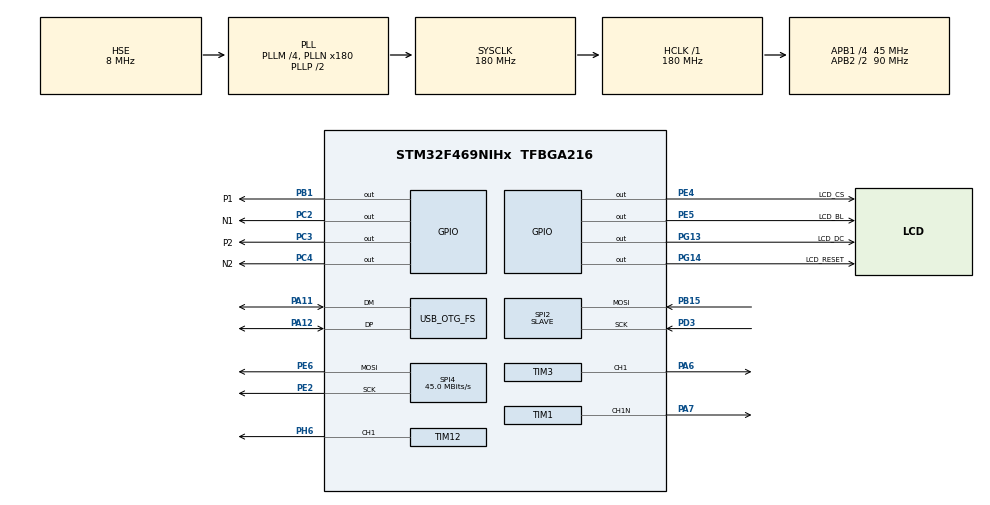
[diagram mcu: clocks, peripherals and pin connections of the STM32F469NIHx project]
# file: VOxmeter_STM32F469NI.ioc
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Dma.Request0=SPI2_RX
Dma.SPI2_RX.0.Direction=DMA_PERIPH_TO_MEMORY
Dma.SPI2_RX.0.FIFOMode=DMA_FIFOMODE_DISABLE
Dma.SPI2_RX.0.Instance=DMA1_Stream3
Dma.SPI2_RX.0.MemDataAlignment=DMA_MDATAALIGN_HALFWORD
Dma.SPI2_RX.0.MemInc=DMA_MINC_ENABLE
Dma.SPI2_RX.0.Mode=DMA_CIRCULAR
Dma.SPI2_RX.0.PeriphDataAlignment=DMA_PDATAALIGN_HALFWORD
Dma.SPI2_RX.0.PeriphInc=DMA_PINC_DISABLE
Dma.SPI2_RX.0.Priority=DMA_PRIORITY_LOW
Mcu.Family=STM32F4
Mcu.Name=STM32F469NIHx
Mcu.Package=TFBGA216
NVIC.DMA1_Stream3_IRQn=true\:0\:0\:false\:false\:true\:false\:true
NVIC.OTG_FS_IRQn=true\:0\:0\:false\:false\:true\:false\:true
NVIC.PriorityGroup=NVIC_PRIORITYGROUP_4
NVIC.TIM6_DAC_IRQn=true\:5\:0\:true\:false\:true\:false\:true
NVIC.TimeBase=TIM6_DAC_IRQn
NVIC.TimeBaseIP=TIM6
PA11.Mode=Device_Only
PA11.Signal=USB_OTG_FS_DM
PA12.Mode=Device_Only
PA12.Signal=USB_OTG_FS_DP
PA13.Mode=Serial_Wire
PA13.Signal=SYS_JTMS-SWDIO
PA14.Mode=Serial_Wire
PA14.Signal=SYS_JTCK-SWCLK
PA6.Signal=S_TIM3_CH1
PA7.Mode=PWM Generation1 CH1N
PA7.Signal=TIM1_CH1N
PB1.GPIO_Label=P1
PB1.PinState=GPIO_PIN_SET
PB1.Signal=GPIO_Output
PB15.Mode=RX_Only_Simplex_Unidirect_Slave
PB15.Signal=SPI2_MOSI
PC2.GPIO_Label=N1
PC2.Signal=GPIO_Output
PC3.GPIO_Label=P2
PC3.PinState=GPIO_PIN_SET
PC3.Signal=GPIO_Output
PC4.GPIO_Label=N2
PC4.Signal=GPIO_Output
PD3.Mode=RX_Only_Simplex_Unidirect_Slave
PD3.Signal=SPI2_SCK
PE2.Mode=TX_Only_Simplex_Unidirect_Master
PE2.Signal=SPI4_SCK
PE4.GPIO_Label=LCD_CS
PE4.Signal=GPIO_Output
PE5.GPIO_Label=LCD_BL
PE5.Signal=GPIO_Output
PE6.Mode=TX_Only_Simplex_Unidirect_Master
PE6.Signal=SPI4_MOSI
PG13.GPIO_Label=LCD_DC
PG13.Signal=GPIO_Output
PG14.GPIO_Label=LCD_RESET
PG14.Signal=GPIO_Output
PH0/OSC_IN.Mode=HSE-External-Oscillator
PH0/OSC_IN.Signal=RCC_OSC_IN
PH1/OSC_OUT.Mode=HSE-External-Oscillator
PH1/OSC_OUT.Signal=RCC_OSC_OUT
PH6.Signal=S_TIM12_CH1
ProjectManager.HeapSize=0x2000
ProjectManager.StackSize=0x4000
ProjectManager.TargetToolchain=MDK-ARM V5.27
RCC.AHBFreq_Value=180000000
RCC.APB1CLKDivider=RCC_HCLK_DIV4
RCC.APB1Freq_Value=45000000
RCC.APB1TimFreq_Value=90000000
RCC.APB2CLKDivider=RCC_HCLK_DIV2
RCC.APB2Freq_Value=90000000
RCC.APB2TimFreq_Value=180000000
RCC.CortexFreq_Value=180000000
RCC.EnbaleCSS=true
RCC.HCLKFreq_Value=180000000
RCC.HSE_VALUE=8000000
RCC.PLLM=4
RCC.PLLN=180
RCC.PLLQ=8
RCC.PLLSAIN=144
RCC.PLLSAIP=RCC_PLLSAIP_DIV6
RCC.PLLSourceVirtual=RCC_PLLSOURCE_HSE
RCC.SYSCLKFreq_VALUE=180000000
RCC.SYSCLKSource=RCC_SYSCLKSOURCE_PLLCLK
RCC.USBCLockSelection=RCC_CLK48CLKSOURCE_PLLSAIP
RCC.USBFreq_Value=48000000
RCC.VCOOutputFreq_Value=360000000
SH.S_TIM12_CH1.0=TIM12_CH1,PWM Generation1 CH1
SH.S_TIM3_CH1.0=TIM3_CH1,PWM Generation1 CH1
SPI2.DataSize=SPI_DATASIZE_16BIT
SPI2.Direction=SPI_DIRECTION_2LINES_RXONLY
SPI2.Mode=SPI_MODE_SLAVE
SPI2.VirtualType=VM_SLAVE
SPI4.BaudRatePrescaler=SPI_BAUDRATEPRESCALER_2
SPI4.CalculateBaudRate=45.0 MBits/s
SPI4.Direction=SPI_DIRECTION_2LINES
SPI4.Mode=SPI_MODE_MASTER
SPI4.VirtualType=VM_MASTER
TIM1.Channel-PWM\ Generation1\ CH1N=TIM_CHANNEL_1
TIM1.OCNPolarity_1=TIM_OCNPOLARITY_HIGH
TIM1.Period=1
TIM1.Prescaler=0
TIM1.Pulse-PWM\ Generation1\ CH1N=1
TIM1.RepetitionCounter=0
TIM1.TIM_MasterOutputTrigger=TIM_TRGO_RESET
TIM12.Channel-PWM\ Generation1\ CH1=TIM_CHANNEL_1
TIM12.OCMode_PWM-PWM\ Generation1\ CH1=TIM_OCMODE_PWM1
TIM12.OCPolarity_1=TIM_OCPOLARITY_LOW
TIM12.Period=67
TIM12.Prescaler=0
TIM12.Pulse-PWM\ Generation1\ CH1=36
TIM3.Channel-PWM\ Generation1\ CH1=TIM_CHANNEL_1
TIM3.OCMode_PWM-PWM\ Generation1\ CH1=TIM_OCMODE_PWM1
TIM3.Period=67
TIM3.Prescaler=0
TIM3.Pulse-PWM\ Generation1\ CH1=36
TIM3.TIM_MasterOutputTrigger=TIM_TRGO_RESET
TIM4.AutoReloadPreload=TIM_AUTORELOAD_PRELOAD_ENABLE
TIM4.Period=1
TIM4.TIM_MasterOutputTrigger=TIM_TRGO_UPDATE
TIM4.TIM_MasterSlaveMode=TIM_MASTERSLAVEMODE_DISABLE
USB_DEVICE.CLASS_NAME_FS=CDC
USB_DEVICE.VirtualMode-CDC_FS=Cdc
USB_DEVICE.VirtualModeFS=Cdc_FS
USB_OTG_FS.VirtualMode=Device_Only
VP_SYS_VS_tim6.Mode=TIM6
VP_TIM12_VS_ClockSourceITR.Mode=TriggerSource_ITR0
VP_TIM12_VS_ControllerModeClock.Mode=Clock Mode
VP_TIM1_VS_ClockSourceITR.Mode=TriggerSource_ITR3
VP_TIM1_VS_ControllerModeClock.Mode=Clock Mode
VP_TIM3_VS_ClockSourceITR.Mode=TriggerSource_ITR3
VP_TIM3_VS_ControllerModeClock.Mode=Clock Mode
VP_TIM4_VS_ClockSourceINT.Mode=Internal
VP_USB_DEVICE_VS_USB_DEVICE_CDC_FS.Mode=CDC_FS
board=custom

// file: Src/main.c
/* USER CODE BEGIN Header */
/**
  ******************************************************************************
  * @file           : main.c
  * @brief          : Main program body
  ******************************************************************************
  * @attention
  *
  * <h2><center>&copy; Copyright (c) 2020 STMicroelectronics.
  * All rights reserved.</center></h2>
  *
  * This software component is licensed by ST under Ultimate Liberty license
  * SLA0044, the "License"; You may not use this file except in compliance with
  * the License. You may obtain a copy of the License at:
  *                             www.st.com/SLA0044
  *
  ******************************************************************************
  */
/* USER CODE END Header */

#include "main.h"
#include "dma.h"
#include "spi.h"
#include "tim.h"
#include "usb_device.h"
#include "gpio.h"

/* USER CODE BEGIN Includes */

#include "stdint.h"
#include "usbd_cdc_if.h"
#include "LCD160.h"
#include "stdlib.h"

/* USER CODE END Includes */

/* USER CODE BEGIN PV */

uint16_t del=150;
uint8_t i=2;
volatile uint8_t dma_cplt=0;
uint16_t tmp[1320];
uint8_t str[1320*7];

// offset using (unit:vref is V, iref is uA, rref is ohm)
double vref=3.2994,iref=20.0,rref=0.0;
uint32_t calibration_R=146420;

// for calculate move average using
float average1=0.0,average2=0.0,resistor=0.0,slope=0.0;
float tmpRes=0.0,tmpSlope=0.0,avgRes=0.0,avgSlope=0.0;
uint16_t start=0,end=1320;

// for average using
uint8_t resetValue=0;
uint16_t maxValue=0,minValue=65535,avgValue=0,countValue=0;

/* USER CODE END PV */

void SystemClock_Config(void);

/* USER CODE BEGIN 0 */

void switchResistor(uint8_t target,uint8_t status){
  if(target==1){  // calibrate resistor
    if(status==0){  // off
      HAL_GPIO_WritePin(P1_GPIO_Port,P1_Pin,GPIO_PIN_SET);
      HAL_GPIO_WritePin(N1_GPIO_Port,N1_Pin,GPIO_PIN_SET);
    }
    else{ // on
      HAL_GPIO_WritePin(N1_GPIO_Port,N1_Pin,GPIO_PIN_RESET);
      HAL_GPIO_WritePin(P1_GPIO_Port,P1_Pin,GPIO_PIN_RESET);
    }
  }
  else if(target==2){  // VOx resistor
    if(status==0){  // off
      HAL_GPIO_WritePin(P2_GPIO_Port,P2_Pin,GPIO_PIN_SET);
      HAL_GPIO_WritePin(N2_GPIO_Port,N2_Pin,GPIO_PIN_SET);
    }
    else{ // on
      HAL_GPIO_WritePin(N2_GPIO_Port,N2_Pin,GPIO_PIN_RESET);
      HAL_GPIO_WritePin(P2_GPIO_Port,P2_Pin,GPIO_PIN_RESET);
    }
  }
  else{ // all discharge and off
    HAL_GPIO_WritePin(P1_GPIO_Port,P1_Pin,GPIO_PIN_SET);
    HAL_GPIO_WritePin(P2_GPIO_Port,P2_Pin,GPIO_PIN_SET);
    HAL_GPIO_WritePin(N1_GPIO_Port,N1_Pin,GPIO_PIN_SET);
    HAL_GPIO_WritePin(N2_GPIO_Port,N2_Pin,GPIO_PIN_SET);
    HAL_GPIO_WritePin(N1_GPIO_Port,N1_Pin,GPIO_PIN_RESET);
    HAL_GPIO_WritePin(N2_GPIO_Port,N2_Pin,GPIO_PIN_RESET);
  }
}

void getADCArray(uint16_t length,uint8_t avg_range){
  uint16_t timeout=64300;
  HAL_SPI_Receive_DMA(&hspi2,(uint8_t*)tmp,length);
  HAL_TIM_Base_Start(&htim4);
  while(dma_cplt==0 && timeout--);
  HAL_TIM_Base_Stop(&htim4);
  switchResistor(0,0);
  dma_cplt=0;

  // calculate average1 from 660 to 710
  average1=tmp[660];
  for(uint8_t k=1;k<avg_range;k++){
    average1=(average1+tmp[660+k]);
  }
  average1/=avg_range;

  // calculate average2 from 1250 to 1300
  average2=tmp[1200];
  for(uint8_t k=1;k<avg_range;k++){
    average2=(average2+tmp[1200+k]);
  }
  average2/=avg_range;
}

void calibration(uint32_t R){
  switchResistor(1,1);
  getADCArray(1320,10);
  // iref=(((double)average1+(double)average2)/2.0)*(vref/65536.0)*1000*1000/(double)R;
  iref=((double)(average1+average2)/2.0)*(vref*15.2587890625)/(double)R;
  // for procedure accelerating
  // vref is fixed to about 3.3v
  // iref is Vadc_read/calibration_R about 20uA
  // rref is vref/iref which is variable
  rref=vref/iref;
}

void systemInitial(){
  // switch off all resistors
  switchResistor(0,0);

  // AD7980 reading sequence generator timers
  // timer 1 pwm for SCK_B high speed
  HAL_TIMEx_PWMN_Start(&htim1,TIM_CHANNEL_1);
  // timer 3 pwm for ADC_CNV pin
  HAL_TIM_PWM_Start(&htim3,TIM_CHANNEL_1);
  // timer 12 pwm with low polarity for SCK_A and gate input
  HAL_TIM_PWM_Start(&htim12,TIM_CHANNEL_1);
  // timer 4 is a master node to trigger timer 1, 3 and 12. (start)
  // HAL_TIM_Base_Start(&htim4);

  // calibrate current source iref
  calibration(calibration_R);

  // ST7735 initialise
  LCD_Initial();    // ST7735_Init();
  All_Color(0,0,0); // ST7735_FillScreen(0x0000);
  LCD_DisplayString_Vertical(120,48,"Ohmmeter");
  for(uint8_t x=16;x<151;x++){
    LCD_DrawPoint(x,118,0xFFFF);
    LCD_DrawPoint(x,18,0xFFFF);
  }
  for(uint8_t y=18;y<119;y++){
    LCD_DrawPoint(151,y,0xFFFF);
    LCD_DrawPoint(16,y,0xFFFF);
  }
  LCD_DisplayString_Vertical(8,0,"  R  =           Ohm");
  LCD_DisplayString_Vertical(0,0,"Slope=          V/mS");
  LCD_DisplayString_Vertical(44,0,"1V");
  LCD_DisplayString_Vertical(74,0,"2V");
  LCD_DisplayString_Vertical(104,0,"3V");
  LCD_DisplayNumber(8,64,0);
  LCD_DisplayFloat(0,48,0.000);
  HAL_GPIO_WritePin(LCD_BL_GPIO_Port,LCD_BL_Pin,GPIO_PIN_SET);
}

void reDraw(uint32_t resistor,float slope){
  uint32_t average=0;
  // redraw curve
  for(uint8_t x=0;x<132;x++){
    for(uint8_t y=1;y<=99;y++){
      if((y%30==0||x==66)&&(x%2==0)&&(y%2==0)){
        LCD_DrawPoint(x+18,y+18,0x4208);
      }
      else
      {
        LCD_DrawPoint(x+18,y+18,0x0000);
      }
    }
    for(uint8_t a=0;a<5;a++){
      average+=tmp[660+x*5+a];
    }
    average=(average*99)/327675;
    if(average>0){
      LCD_DrawPoint(x+18,average+18,0xF800);
    }
  }

  // check overload or short then display value
  if(average1>=65535){
    LCD_DisplayString_Vertical(8,56,"OverLoad");
  }
  else if(resistor<=425){
    LCD_DisplayString_Vertical(8,56,"  <  500 ");
  }
  else{
    LCD_DisplayString_Vertical(8,56,"       ");
    LCD_DisplayNumber(8,64,resistor);
  }
  LCD_DisplayFloat(0,48,slope);
}

void shortToString(void){
  for(uint16_t x=start;x<end;x++){
    str[x*7+0]=((tmp[x]/10000)%10)? ((tmp[x]/10000)%10)+48:48;
    str[x*7+1]=((tmp[x]/1000)%10)? ((tmp[x]/1000)%10)+48:48;
    str[x*7+2]=((tmp[x]/100)%10)? ((tmp[x]/100)%10)+48:48;
    str[x*7+3]=((tmp[x]/10)%10)? ((tmp[x]/10)%10)+48:48;
    str[x*7+4]=(tmp[x]%10)? (tmp[x]%10)+48:48;
    str[x*7+5]='\n';
    str[x*7+6]='\r';
  }
}

/* USER CODE END 0 */

int main(void)
{

  /* MCU Configuration--------------------------------------------------------*/

  /* Reset of all peripherals, Initializes the Flash interface and the Systick. */
  HAL_Init();

  /* Configure the system clock */
  SystemClock_Config();

  /* Initialize all configured peripherals */
  MX_GPIO_Init();
  MX_DMA_Init();
  MX_USB_DEVICE_Init();
  MX_SPI4_Init();
  MX_TIM1_Init();
  MX_TIM3_Init();
  MX_TIM4_Init();
  MX_TIM12_Init();
  MX_SPI2_Init();
  /* USER CODE BEGIN 2 */

  systemInitial();

  /* USER CODE END 2 */

  /* Infinite loop */
  /* USER CODE BEGIN WHILE */
  while (1)
  {
    if(i){ // debug mode
      switchResistor(i,1);
      getADCArray(1320,10);

      if(resetValue==1 || countValue>100){
        avgValue=(maxValue+minValue)/2;
        // avgValue=average1;
        maxValue=0;
        minValue=65535;
        countValue=0;
        calibration(calibration_R);
        if(resetValue==0) continue;
      }
      if(maxValue<average1){
        maxValue=average1;
      }
      if(minValue>average1){
        minValue=average1;
      }
      countValue++;

      // resistor=average1*(vref/65536.0)*((3465.0*1000000.0)/(300.0*227.0));
      // resistor=(double)(average1)*2.562065;
      resistor=(double)(average1)*15.2587890625*rref;
      // calibrated function
      // resistor=(double)average1*(double)average1*0.0000006+(double)average1*2.3839+4.7023;
      // slope=(average2-average1)*(vref/65536.0)*1000000.0/((1200-660)*1.5);
      slope=(double)(((average2-average1)/(average1*average1))*1000000);//*0.061728; // unit: (V/S)
//      slope/=1000;  // V/S -> V/mS

      // shortToString();
      // CDC_Transmit_FS((uint8_t*)str,sizeof(str));

			tmpRes=(tmpRes+resistor)/2.0;
			tmpSlope=(tmpSlope+slope)/2.0;

			if(countValue%10==0){
				avgRes=tmpRes;
				avgSlope=tmpSlope;
				tmpRes=0.0;
				tmpSlope=0.0;
				reDraw((uint32_t)avgRes,avgSlope);
			}
    }

    /* USER CODE END WHILE */

    /* USER CODE BEGIN 3 */
    HAL_Delay(del);
  }
  /* USER CODE END 3 */
}

void SystemClock_Config(void)
{
  RCC_OscInitTypeDef RCC_OscInitStruct = {0};
  RCC_ClkInitTypeDef RCC_ClkInitStruct = {0};
  RCC_PeriphCLKInitTypeDef PeriphClkInitStruct = {0};

  /** Configure the main internal regulator output voltage
  */
  __HAL_RCC_PWR_CLK_ENABLE();
  __HAL_PWR_VOLTAGESCALING_CONFIG(PWR_REGULATOR_VOLTAGE_SCALE1);
  /** Initializes the CPU, AHB and APB busses clocks
  */
  RCC_OscInitStruct.OscillatorType = RCC_OSCILLATORTYPE_HSE;
  RCC_OscInitStruct.HSEState = RCC_HSE_ON;
  RCC_OscInitStruct.PLL.PLLState = RCC_PLL_ON;
  RCC_OscInitStruct.PLL.PLLSource = RCC_PLLSOURCE_HSE;
  RCC_OscInitStruct.PLL.PLLM = 4;
  RCC_OscInitStruct.PLL.PLLN = 180;
  RCC_OscInitStruct.PLL.PLLP = RCC_PLLP_DIV2;
  RCC_OscInitStruct.PLL.PLLQ = 8;
  RCC_OscInitStruct.PLL.PLLR = 2;
  if (HAL_RCC_OscConfig(&RCC_OscInitStruct) != HAL_OK)
  {
    Error_Handler();
  }
  /** Activate the Over-Drive mode
  */
  if (HAL_PWREx_EnableOverDrive() != HAL_OK)
  {
    Error_Handler();
  }
  /** Initializes the CPU, AHB and APB busses clocks
  */
  RCC_ClkInitStruct.ClockType = RCC_CLOCKTYPE_HCLK|RCC_CLOCKTYPE_SYSCLK
                              |RCC_CLOCKTYPE_PCLK1|RCC_CLOCKTYPE_PCLK2;
  RCC_ClkInitStruct.SYSCLKSource = RCC_SYSCLKSOURCE_PLLCLK;
  RCC_ClkInitStruct.AHBCLKDivider = RCC_SYSCLK_DIV1;
  RCC_ClkInitStruct.APB1CLKDivider = RCC_HCLK_DIV4;
  RCC_ClkInitStruct.APB2CLKDivider = RCC_HCLK_DIV2;

  if (HAL_RCC_ClockConfig(&RCC_ClkInitStruct, FLASH_LATENCY_5) != HAL_OK)
  {
    Error_Handler();
  }
  PeriphClkInitStruct.PeriphClockSelection = RCC_PERIPHCLK_CLK48;
  PeriphClkInitStruct.PLLSAI.PLLSAIN = 144;
  PeriphClkInitStruct.PLLSAI.PLLSAIP = RCC_PLLSAIP_DIV6;
  PeriphClkInitStruct.Clk48ClockSelection = RCC_CLK48CLKSOURCE_PLLSAIP;
  if (HAL_RCCEx_PeriphCLKConfig(&PeriphClkInitStruct) != HAL_OK)
  {
    Error_Handler();
  }
  /** Enables the Clock Security System
  */
  HAL_RCC_EnableCSS();
}

 /**
  * @brief  Period elapsed callback in non blocking mode
  * @note   This function is called  when TIM6 interrupt took place, inside
  * HAL_TIM_IRQHandler(). It makes a direct call to HAL_IncTick() to increment
  * a global variable "uwTick" used as application time base.
  * @param  htim : TIM handle
  * @retval None
  */
void HAL_TIM_PeriodElapsedCallback(TIM_HandleTypeDef *htim)
{
  if (htim->Instance == TIM6) {
    HAL_IncTick();
  }
}

void Error_Handler(void)
{
}

/************************ (C) COPYRIGHT STMicroelectronics *****END OF FILE****/
